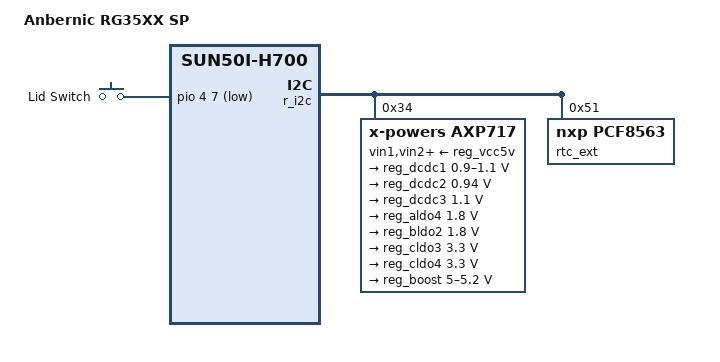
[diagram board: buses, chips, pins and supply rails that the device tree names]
// SPDX-License-Identifier: (GPL-2.0-only OR BSD-2-Clause)
/*
 * Copyright (C) 2024 Ryan Walklin <ryan@testtoast.com>.
 * Copyright (C) 2024 Chris Morgan <macroalpha82@gmail.com>.
 */

#include <dt-bindings/input/gpio-keys.h>
#include "sun50i-h700-anbernic-rg35xx-plus.dts"

/ {
	model = "Anbernic RG35XX SP";
	compatible = "anbernic,rg35xx-sp", "allwinner,sun50i-h700";

	gpio-keys-lid {
		compatible = "gpio-keys";

		lid-switch {
			label = "Lid Switch";
			gpios = <&pio 4 7 GPIO_ACTIVE_LOW>; /* PE7 */
			linux,can-disable;
			linux,code = <SW_LID>;
			linux,input-type = <EV_SW>;
			wakeup-event-action = <EV_ACT_DEASSERTED>;
			wakeup-source;
		};
	};
};

/delete-node/ &r_rsb;

&r_i2c {
	pinctrl-0 = <&r_i2c_pins>;
	pinctrl-names = "default";
	status = "okay";

	axp717: pmic@34 {
		compatible = "x-powers,axp717";
		reg = <0x34>;
		interrupt-controller;
		#interrupt-cells = <1>;
		interrupt-parent = <&nmi_intc>;
		interrupts = <0 IRQ_TYPE_LEVEL_LOW>;

		vin1-supply = <&reg_vcc5v>;
		vin2-supply = <&reg_vcc5v>;
		vin3-supply = <&reg_vcc5v>;
		vin4-supply = <&reg_vcc5v>;

		regulators {
			reg_dcdc1: dcdc1 {
				regulator-always-on;
				regulator-min-microvolt = <900000>;
				regulator-max-microvolt = <1100000>;
				regulator-name = "vdd-cpu";
			};

			reg_dcdc2: dcdc2 {
				regulator-always-on;
				regulator-min-microvolt = <940000>;
				regulator-max-microvolt = <940000>;
				regulator-name = "vdd-gpu-sys";
			};

			reg_dcdc3: dcdc3 {
				regulator-always-on;
				regulator-min-microvolt = <1100000>;
				regulator-max-microvolt = <1100000>;
				regulator-name = "vdd-dram";
			};

			reg_aldo1: aldo1 {
				/* 1.8v - unused */
			};

			reg_aldo2: aldo2 {
				/* 1.8v - unused */
			};

			reg_aldo3: aldo3 {
				/* 1.8v - unused */
			};

			reg_aldo4: aldo4 {
				regulator-min-microvolt = <1800000>;
				regulator-max-microvolt = <1800000>;
				regulator-name = "vcc-pg";
			};

			reg_bldo1: bldo1 {
				/* 1.8v - unused */
			};

			reg_bldo2: bldo2 {
				regulator-always-on;
				regulator-min-microvolt = <1800000>;
				regulator-max-microvolt = <1800000>;
				regulator-name = "vcc-pll";
			};

			reg_bldo3: bldo3 {
				/* 2.8v - unused */
			};

			reg_bldo4: bldo4 {
				/* 1.2v - unused */
			};

			reg_cldo1: cldo1 {
				/* 3.3v - audio codec - not yet implemented */
			};

			reg_cldo2: cldo2 {
				/* 3.3v - unused */
			};

			reg_cldo3: cldo3 {
				regulator-always-on;
				regulator-min-microvolt = <3300000>;
				regulator-max-microvolt = <3300000>;
				regulator-name = "vcc-io";
			};

			reg_cldo4: cldo4 {
				regulator-min-microvolt = <3300000>;
				regulator-max-microvolt = <3300000>;
				regulator-name = "vcc-wifi";
			};

			reg_boost: boost {
				regulator-min-microvolt = <5000000>;
				regulator-max-microvolt = <5200000>;
				regulator-name = "boost";
			};

			reg_cpusldo: cpusldo {
				/* unused */
			};
		};
	};

	rtc_ext: rtc@51 {
		compatible = "nxp,pcf8563";
		reg = <0x51>;
	};
};
